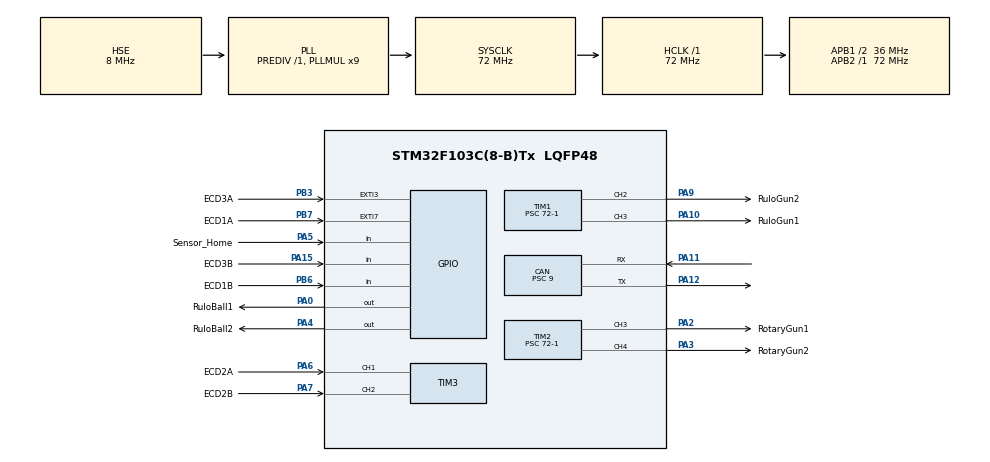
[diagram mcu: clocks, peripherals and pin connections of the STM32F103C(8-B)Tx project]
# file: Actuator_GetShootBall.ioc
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CAN.BS2=CAN_BS2_2TQ
CAN.CalculateBaudRate=1000000
CAN.CalculateTimeBit=1000
CAN.CalculateTimeQuantum=250.0
CAN.Prescaler=9
FREERTOS.Tasks01=ShootTask,0,128,StartShootTask,Default,NULL,Dynamic,NULL,NULL;CANTask,1,128,StartCANTask,Default,NULL,Dynamic,NULL,NULL
FREERTOS.configTIMER_TASK_PRIORITY=6
FREERTOS.configUSE_TIMERS=1
Mcu.Family=STM32F1
Mcu.Name=STM32F103C(8-B)Tx
Mcu.Package=LQFP48
NVIC.CAN1_RX1_IRQn=true\:5\:0\:false\:false\:true\:true\:true\:true\:true
NVIC.EXTI3_IRQn=true\:5\:0\:false\:false\:true\:true\:true\:true\:true
NVIC.EXTI9_5_IRQn=true\:5\:0\:false\:false\:true\:true\:true\:true\:true
NVIC.PriorityGroup=NVIC_PRIORITYGROUP_4
NVIC.TIM3_IRQn=true\:5\:0\:false\:false\:true\:true\:true\:true\:true
NVIC.TIM4_IRQn=true\:15\:0\:false\:false\:true\:false\:false\:true\:true
NVIC.TimeBase=TIM4_IRQn
NVIC.TimeBaseIP=TIM4
NVIC.USB_HP_CAN1_TX_IRQn=true\:5\:0\:false\:false\:true\:true\:true\:true\:true
NVIC.USB_LP_CAN1_RX0_IRQn=true\:5\:0\:false\:false\:true\:true\:true\:true\:true
PA0-WKUP.GPIO_Label=RuloBall1
PA0-WKUP.GPIO_PuPd=GPIO_NOPULL
PA0-WKUP.Signal=GPIO_Output
PA10.GPIO_Label=RuloGun1
PA10.Signal=S_TIM1_CH3
PA11.Mode=CAN_Activate
PA11.Signal=CAN_RX
PA12.Mode=CAN_Activate
PA12.Signal=CAN_TX
PA13.Mode=Serial_Wire
PA13.Signal=SYS_JTMS-SWDIO
PA14.Mode=Serial_Wire
PA14.Signal=SYS_JTCK-SWCLK
PA15.GPIO_Label=ECD3B
PA15.GPIO_PuPd=GPIO_PULLUP
PA15.Signal=GPIO_Input
PA2.GPIO_Label=RotaryGun1
PA2.Signal=S_TIM2_CH3
PA3.GPIO_Label=RotaryGun2
PA3.Signal=S_TIM2_CH4
PA4.GPIO_Label=RuloBall2
PA4.Signal=GPIO_Output
PA5.GPIO_Label=Sensor_Home
PA5.Signal=GPIO_Input
PA6.GPIO_Label=ECD2A
PA6.GPIO_PuPd=GPIO_PULLUP
PA6.Signal=S_TIM3_CH1
PA7.GPIO_Label=ECD2B
PA7.GPIO_PuPd=GPIO_PULLUP
PA7.Signal=S_TIM3_CH2
PA9.GPIO_Label=RuloGun2
PA9.Signal=S_TIM1_CH2
PB3.GPIO_Label=ECD3A
PB3.GPIO_PuPd=GPIO_PULLUP
PB3.Signal=GPXTI3
PB6.GPIO_Label=ECD1B
PB6.GPIO_PuPd=GPIO_PULLUP
PB6.Signal=GPIO_Input
PB7.GPIO_Label=ECD1A
PB7.GPIO_PuPd=GPIO_PULLUP
PB7.Signal=GPXTI7
PD0-OSC_IN.Mode=HSE-External-Oscillator
PD0-OSC_IN.Signal=RCC_OSC_IN
PD1-OSC_OUT.Mode=HSE-External-Oscillator
PD1-OSC_OUT.Signal=RCC_OSC_OUT
ProjectManager.HeapSize=0x200
ProjectManager.StackSize=0x400
ProjectManager.TargetToolchain=STM32CubeIDE
RCC.AHBFreq_Value=72000000
RCC.APB1CLKDivider=RCC_HCLK_DIV2
RCC.APB1Freq_Value=36000000
RCC.APB1TimFreq_Value=72000000
RCC.APB2Freq_Value=72000000
RCC.APB2TimFreq_Value=72000000
RCC.HCLKFreq_Value=72000000
RCC.PLLMUL=RCC_PLL_MUL9
RCC.PLLSourceVirtual=RCC_PLLSOURCE_HSE
RCC.SYSCLKFreq_VALUE=72000000
RCC.SYSCLKSource=RCC_SYSCLKSOURCE_PLLCLK
RCC.USBFreq_Value=72000000
SH.S_TIM1_CH2.0=TIM1_CH2,PWM Generation2 CH2
SH.S_TIM1_CH3.0=TIM1_CH3,PWM Generation3 CH3
SH.S_TIM2_CH3.0=TIM2_CH3,PWM Generation3 CH3
SH.S_TIM2_CH4.0=TIM2_CH4,PWM Generation4 CH4
SH.S_TIM3_CH1.0=TIM3_CH1,Encoder_Interface
SH.S_TIM3_CH2.0=TIM3_CH2,Encoder_Interface
TIM1.Channel-PWM\ Generation2\ CH2=TIM_CHANNEL_2
TIM1.Channel-PWM\ Generation3\ CH3=TIM_CHANNEL_3
TIM1.Period=1000-1
TIM1.Prescaler=72-1
TIM2.Channel-PWM\ Generation3\ CH3=TIM_CHANNEL_3
TIM2.Channel-PWM\ Generation4\ CH4=TIM_CHANNEL_4
TIM2.Period=1000-1
TIM2.Prescaler=72-1
TIM3.EncoderMode=TIM_ENCODERMODE_TI12
TIM3.IC1Polarity=TIM_ICPOLARITY_RISING
TIM3.IC2Polarity=TIM_ICPOLARITY_RISING
VP_FREERTOS_VS_CMSIS_V1.Mode=CMSIS_V1
VP_SYS_VS_tim4.Mode=TIM4
VP_TIM1_VS_ClockSourceINT.Mode=Internal
VP_TIM2_VS_ClockSourceINT.Mode=Internal
board=custom

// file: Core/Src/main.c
/* USER CODE BEGIN Header */
/**
 ******************************************************************************
 * @file           : main.c
 * @brief          : Main program body
 ******************************************************************************
 * @attention
 *
 * Copyright (c) 2024 STMicroelectronics.
 * All rights reserved.
 *
 * This software is licensed under terms that can be found in the LICENSE file
 * in the root directory of this software component.
 * If no LICENSE file comes with this software, it is provided AS-IS.
 *
 ******************************************************************************
 */
/* USER CODE END Header */
#include "main.h"
#include "cmsis_os.h"

/* USER CODE BEGIN Includes */
#include "PID_GunModule.h"
#include "CAN_Control.h"
#include "CAN_FuncHandle.h"
/* USER CODE END Includes */

/* USER CODE BEGIN PD */
#define FLASH_ADDR_BASE 0x08000000
#define FLASH_ADDR_TARGET_PAGE 64
#define FLASH_ADDR_TARGET (FLASH_ADDR_BASE + 1024*FLASH_ADDR_TARGET_PAGE)
/* USER CODE END PD */

CAN_HandleTypeDef hcan;

TIM_HandleTypeDef htim1;
TIM_HandleTypeDef htim2;
TIM_HandleTypeDef htim3;

osThreadId ShootTaskHandle;
osThreadId CANTaskHandle;
/* USER CODE BEGIN PV */
extern BoardParameter_t brdParam;
QueueHandle_t qPID, qShoot;
/* USER CODE END PV */

void SystemClock_Config(void);
static void MX_GPIO_Init(void);
static void MX_TIM2_Init(void);
static void MX_TIM3_Init(void);
static void MX_CAN_Init(void);
static void MX_TIM1_Init(void);
void StartShootTask(void const * argument);
void StartCANTask(void const * argument);

/* USER CODE BEGIN PFP */
////////////////////////////////////////////////////////
//****************************************************//
//*                     _oo0oo_                      *//
//*                    o8888888o                     *//
//*                    88` . '88                     *//
//*                    (| -_- |)                     *//
//*                     0\ = /0                      *//
//*                  ___/`---'\___                   *//
//*                  .' \\| |// '.                   *//
//*                / \\||| : |||// \                 *//
//*              / _||||| -:- |||||_ \               *//
//*                | | \\\ - /// | |                 *//
//*             |  \_| ''\---/'' |_/ |               *//
//*               \ .-\__ '-' ___/-. /               *//
//*            ___'. .' /--.--\ `. .'___             *//
//*         ."" '< `.___\_<|>_/___.' >' "".          *//
//*        | | : `- \`.;`\ _ /`;.`/ - ` : | |        *//
//*          \ \ `_. \_ __\ /__ _/ .-` / /           *//
//*   =====`-.____`.___ \_____/___.-`___.-'=====     *//
//*                     `=---='                      *//
//****************************************************//
////////////////////////////////////////////////////////
//---------------------ANTI BUG-----------------------//
/* USER CODE END PFP */

/* USER CODE BEGIN 0 */
void HAL_CAN_RxFifo0MsgPendingCallback(CAN_HandleTypeDef *hcan) {
	HAL_CAN_DeactivateNotification(hcan, CAN_IT_RX_FIFO0_MSG_PENDING);
	BaseType_t HigherPriorityTaskWoken = pdFALSE;
	CAN_MODE_ID modeID = canctrl_Receive_2(hcan, CAN_RX_FIFO0);
	xTaskNotifyFromISR(CANTaskHandle, modeID, eSetValueWithOverwrite, &HigherPriorityTaskWoken);
	portYIELD_FROM_ISR(HigherPriorityTaskWoken);
}

void HAL_GPIO_EXTI_Callback(uint16_t GPIO_Pin){
	if(GPIO_Pin == ECD3A_Pin){
		if(HAL_GPIO_ReadPin(ECD3B_GPIO_Port, ECD3B_Pin)){
			brdParam.encGun1.count_X1++;
		}
		else
			brdParam.encGun1.count_X1--;
	}
	if(GPIO_Pin == ECD1A_Pin){
		if(HAL_GPIO_ReadPin(ECD1B_GPIO_Port, ECD1B_Pin)){
			brdParam.encGun2.count_X1++;
		}
		else
			brdParam.encGun2.count_X1--;
	}
	BaseType_t HigherPriorityTaskWoken = pdFALSE;
	portYIELD_FROM_ISR(HigherPriorityTaskWoken);
}

void CAN_Init() {
	HAL_CAN_Start(&hcan);

	uint16_t deviceID = CANCTRL_DEVICE_ACTUATOR_1 << CAN_DEVICE_POS;

	canctrl_Filter_List16(&hcan,
			deviceID | CANCTRL_MODE_START,
			deviceID | CANCTRL_MODE_SHOOT,
			deviceID | CANCTRL_MODE_TEST,
			deviceID | CANCTRL_MODE_END,
			0, CAN_RX_FIFO0);

	HAL_CAN_ActivateNotification(&hcan, CAN_IT_RX_FIFO0_MSG_PENDING
			| CAN_IT_RX_FIFO0_FULL);

}

uint8_t TestMode = 0;
void handleFunctionCAN(CAN_MODE_ID mode) {
	CAN_SpeedGun speed;
	switch (mode) {
		case CANCTRL_MODE_SHOOT:
			speed= canfunc_GunGetSpeed();
			brd_SetSpeedGun(speed.gun1Speed, MOTOR_GUN1);
			brd_SetSpeedGun(speed.gun2Speed, MOTOR_GUN2);
			bool shootValue = 1;
			xQueueSend(qShoot, (void*)&shootValue, 1/portTICK_PERIOD_MS);
			break;
		case CANCTRL_MODE_TEST:
			TestMode = canfunc_GetBoolValue();
			break;
		default:
		break;
	}
}

void HAL_CAN_ErrorCallback(CAN_HandleTypeDef *hcan) {
	while (1);
}

void HAL_CAN_RxFifo0FullCallback(CAN_HandleTypeDef *hcan) {
	__NOP();
//	HAL_CAN_DeactivateNotification(hcan, CAN_IT_RX_FIFO0_MSG_PENDING);
}

void Flash_Assign() {
	  HAL_FLASH_Unlock();
	  FLASH_EraseInitTypeDef er;
	  er.TypeErase = FLASH_TYPEERASE_PAGES;
	  er.PageAddress = FLASH_ADDR_TARGET;
	  er.NbPages = 1;
	  uint32_t pe = 0;
	  HAL_FLASHEx_Erase(&er, &pe);
	  HAL_FLASH_Program(FLASH_TYPEPROGRAM_WORD, FLASH_ADDR_TARGET, 0x06);
	  HAL_FLASH_Lock();
}
/* USER CODE END 0 */

int main(void)
{

  /* MCU Configuration--------------------------------------------------------*/

  /* Reset of all peripherals, Initializes the Flash interface and the Systick. */
  HAL_Init();

  /* Configure the system clock */
  SystemClock_Config();

  /* Initialize all configured peripherals */
  MX_GPIO_Init();
  MX_TIM2_Init();
  MX_TIM3_Init();
  MX_CAN_Init();
  MX_TIM1_Init();
  /* USER CODE BEGIN 2 */
  qShoot = xQueueCreate(1, sizeof(bool));
  qPID   = xQueueCreate(2, sizeof(float));
  brd_Init();
//  Flash_Assign();
//  uint32_t testf = *(__IO uint32_t*) FLASH_ADDR_TARGET;
  /* USER CODE END 2 */

  /* Create the thread(s) */
  /* definition and creation of ShootTask */
  osThreadDef(ShootTask, StartShootTask, osPriorityNormal, 0, 128);
  ShootTaskHandle = osThreadCreate(osThread(ShootTask), NULL);

  /* definition and creation of CANTask */
  osThreadDef(CANTask, StartCANTask, osPriorityAboveNormal, 0, 128);
  CANTaskHandle = osThreadCreate(osThread(CANTask), NULL);

  /* Start scheduler */
  osKernelStart();

  /* We should never get here as control is now taken by the scheduler */
  /* Infinite loop */
	while (1)
	{

	}
}

void SystemClock_Config(void)
{
  RCC_OscInitTypeDef RCC_OscInitStruct = {0};
  RCC_ClkInitTypeDef RCC_ClkInitStruct = {0};

  /** Initializes the RCC Oscillators according to the specified parameters
  * in the RCC_OscInitTypeDef structure.
  */
  RCC_OscInitStruct.OscillatorType = RCC_OSCILLATORTYPE_HSE;
  RCC_OscInitStruct.HSEState = RCC_HSE_ON;
  RCC_OscInitStruct.HSEPredivValue = RCC_HSE_PREDIV_DIV1;
  RCC_OscInitStruct.HSIState = RCC_HSI_ON;
  RCC_OscInitStruct.PLL.PLLState = RCC_PLL_ON;
  RCC_OscInitStruct.PLL.PLLSource = RCC_PLLSOURCE_HSE;
  RCC_OscInitStruct.PLL.PLLMUL = RCC_PLL_MUL9;
  if (HAL_RCC_OscConfig(&RCC_OscInitStruct) != HAL_OK)
  {
    Error_Handler();
  }

  /** Initializes the CPU, AHB and APB buses clocks
  */
  RCC_ClkInitStruct.ClockType = RCC_CLOCKTYPE_HCLK|RCC_CLOCKTYPE_SYSCLK
                              |RCC_CLOCKTYPE_PCLK1|RCC_CLOCKTYPE_PCLK2;
  RCC_ClkInitStruct.SYSCLKSource = RCC_SYSCLKSOURCE_PLLCLK;
  RCC_ClkInitStruct.AHBCLKDivider = RCC_SYSCLK_DIV1;
  RCC_ClkInitStruct.APB1CLKDivider = RCC_HCLK_DIV2;
  RCC_ClkInitStruct.APB2CLKDivider = RCC_HCLK_DIV1;

  if (HAL_RCC_ClockConfig(&RCC_ClkInitStruct, FLASH_LATENCY_2) != HAL_OK)
  {
    Error_Handler();
  }
}

static void MX_CAN_Init(void)
{

  hcan.Instance = CAN1;
  hcan.Init.Prescaler = 9;
  hcan.Init.Mode = CAN_MODE_NORMAL;
  hcan.Init.SyncJumpWidth = CAN_SJW_1TQ;
  hcan.Init.TimeSeg1 = CAN_BS1_1TQ;
  hcan.Init.TimeSeg2 = CAN_BS2_2TQ;
  hcan.Init.TimeTriggeredMode = DISABLE;
  hcan.Init.AutoBusOff = DISABLE;
  hcan.Init.AutoWakeUp = DISABLE;
  hcan.Init.AutoRetransmission = DISABLE;
  hcan.Init.ReceiveFifoLocked = DISABLE;
  hcan.Init.TransmitFifoPriority = DISABLE;
  if (HAL_CAN_Init(&hcan) != HAL_OK)
  {
    Error_Handler();
  }

}

static void MX_TIM1_Init(void)
{

  TIM_ClockConfigTypeDef sClockSourceConfig = {0};
  TIM_MasterConfigTypeDef sMasterConfig = {0};
  TIM_OC_InitTypeDef sConfigOC = {0};
  TIM_BreakDeadTimeConfigTypeDef sBreakDeadTimeConfig = {0};

  htim1.Instance = TIM1;
  htim1.Init.Prescaler = 72-1;
  htim1.Init.CounterMode = TIM_COUNTERMODE_UP;
  htim1.Init.Period = 1000-1;
  htim1.Init.ClockDivision = TIM_CLOCKDIVISION_DIV1;
  htim1.Init.RepetitionCounter = 0;
  htim1.Init.AutoReloadPreload = TIM_AUTORELOAD_PRELOAD_DISABLE;
  if (HAL_TIM_Base_Init(&htim1) != HAL_OK)
  {
    Error_Handler();
  }
  sClockSourceConfig.ClockSource = TIM_CLOCKSOURCE_INTERNAL;
  if (HAL_TIM_ConfigClockSource(&htim1, &sClockSourceConfig) != HAL_OK)
  {
    Error_Handler();
  }
  if (HAL_TIM_PWM_Init(&htim1) != HAL_OK)
  {
    Error_Handler();
  }
  sMasterConfig.MasterOutputTrigger = TIM_TRGO_RESET;
  sMasterConfig.MasterSlaveMode = TIM_MASTERSLAVEMODE_DISABLE;
  if (HAL_TIMEx_MasterConfigSynchronization(&htim1, &sMasterConfig) != HAL_OK)
  {
    Error_Handler();
  }
  sConfigOC.OCMode = TIM_OCMODE_PWM1;
  sConfigOC.Pulse = 0;
  sConfigOC.OCPolarity = TIM_OCPOLARITY_HIGH;
  sConfigOC.OCNPolarity = TIM_OCNPOLARITY_HIGH;
  sConfigOC.OCFastMode = TIM_OCFAST_DISABLE;
  sConfigOC.OCIdleState = TIM_OCIDLESTATE_RESET;
  sConfigOC.OCNIdleState = TIM_OCNIDLESTATE_RESET;
  if (HAL_TIM_PWM_ConfigChannel(&htim1, &sConfigOC, TIM_CHANNEL_2) != HAL_OK)
  {
    Error_Handler();
  }
  if (HAL_TIM_PWM_ConfigChannel(&htim1, &sConfigOC, TIM_CHANNEL_3) != HAL_OK)
  {
    Error_Handler();
  }
  sBreakDeadTimeConfig.OffStateRunMode = TIM_OSSR_DISABLE;
  sBreakDeadTimeConfig.OffStateIDLEMode = TIM_OSSI_DISABLE;
  sBreakDeadTimeConfig.LockLevel = TIM_LOCKLEVEL_OFF;
  sBreakDeadTimeConfig.DeadTime = 0;
  sBreakDeadTimeConfig.BreakState = TIM_BREAK_DISABLE;
  sBreakDeadTimeConfig.BreakPolarity = TIM_BREAKPOLARITY_HIGH;
  sBreakDeadTimeConfig.AutomaticOutput = TIM_AUTOMATICOUTPUT_DISABLE;
  if (HAL_TIMEx_ConfigBreakDeadTime(&htim1, &sBreakDeadTimeConfig) != HAL_OK)
  {
    Error_Handler();
  }
  HAL_TIM_MspPostInit(&htim1);

}

static void MX_TIM2_Init(void)
{

  TIM_ClockConfigTypeDef sClockSourceConfig = {0};
  TIM_MasterConfigTypeDef sMasterConfig = {0};
  TIM_OC_InitTypeDef sConfigOC = {0};

  htim2.Instance = TIM2;
  htim2.Init.Prescaler = 72-1;
  htim2.Init.CounterMode = TIM_COUNTERMODE_UP;
  htim2.Init.Period = 1000-1;
  htim2.Init.ClockDivision = TIM_CLOCKDIVISION_DIV1;
  htim2.Init.AutoReloadPreload = TIM_AUTORELOAD_PRELOAD_DISABLE;
  if (HAL_TIM_Base_Init(&htim2) != HAL_OK)
  {
    Error_Handler();
  }
  sClockSourceConfig.ClockSource = TIM_CLOCKSOURCE_INTERNAL;
  if (HAL_TIM_ConfigClockSource(&htim2, &sClockSourceConfig) != HAL_OK)
  {
    Error_Handler();
  }
  if (HAL_TIM_PWM_Init(&htim2) != HAL_OK)
  {
    Error_Handler();
  }
  sMasterConfig.MasterOutputTrigger = TIM_TRGO_RESET;
  sMasterConfig.MasterSlaveMode = TIM_MASTERSLAVEMODE_DISABLE;
  if (HAL_TIMEx_MasterConfigSynchronization(&htim2, &sMasterConfig) != HAL_OK)
  {
    Error_Handler();
  }
  sConfigOC.OCMode = TIM_OCMODE_PWM1;
  sConfigOC.Pulse = 0;
  sConfigOC.OCPolarity = TIM_OCPOLARITY_HIGH;
  sConfigOC.OCFastMode = TIM_OCFAST_DISABLE;
  if (HAL_TIM_PWM_ConfigChannel(&htim2, &sConfigOC, TIM_CHANNEL_3) != HAL_OK)
  {
    Error_Handler();
  }
  if (HAL_TIM_PWM_ConfigChannel(&htim2, &sConfigOC, TIM_CHANNEL_4) != HAL_OK)
  {
    Error_Handler();
  }
  HAL_TIM_MspPostInit(&htim2);

}

static void MX_TIM3_Init(void)
{

  TIM_Encoder_InitTypeDef sConfig = {0};
  TIM_MasterConfigTypeDef sMasterConfig = {0};

  htim3.Instance = TIM3;
  htim3.Init.Prescaler = 0;
  htim3.Init.CounterMode = TIM_COUNTERMODE_UP;
  htim3.Init.Period = 65535;
  htim3.Init.ClockDivision = TIM_CLOCKDIVISION_DIV1;
  htim3.Init.AutoReloadPreload = TIM_AUTORELOAD_PRELOAD_DISABLE;
  sConfig.EncoderMode = TIM_ENCODERMODE_TI12;
  sConfig.IC1Polarity = TIM_ICPOLARITY_RISING;
  sConfig.IC1Selection = TIM_ICSELECTION_DIRECTTI;
  sConfig.IC1Prescaler = TIM_ICPSC_DIV1;
  sConfig.IC1Filter = 0;
  sConfig.IC2Polarity = TIM_ICPOLARITY_RISING;
  sConfig.IC2Selection = TIM_ICSELECTION_DIRECTTI;
  sConfig.IC2Prescaler = TIM_ICPSC_DIV1;
  sConfig.IC2Filter = 0;
  if (HAL_TIM_Encoder_Init(&htim3, &sConfig) != HAL_OK)
  {
    Error_Handler();
  }
  sMasterConfig.MasterOutputTrigger = TIM_TRGO_RESET;
  sMasterConfig.MasterSlaveMode = TIM_MASTERSLAVEMODE_DISABLE;
  if (HAL_TIMEx_MasterConfigSynchronization(&htim3, &sMasterConfig) != HAL_OK)
  {
    Error_Handler();
  }

}

static void MX_GPIO_Init(void)
{
  GPIO_InitTypeDef GPIO_InitStruct = {0};

  /* GPIO Ports Clock Enable */
  __HAL_RCC_GPIOD_CLK_ENABLE();
  __HAL_RCC_GPIOA_CLK_ENABLE();
  __HAL_RCC_GPIOB_CLK_ENABLE();

  /*Configure GPIO pin Output Level */
  HAL_GPIO_WritePin(GPIOA, RuloBall1_Pin|RuloBall2_Pin, GPIO_PIN_RESET);

  /*Configure GPIO pins : RuloBall1_Pin RuloBall2_Pin */
  GPIO_InitStruct.Pin = RuloBall1_Pin|RuloBall2_Pin;
  GPIO_InitStruct.Mode = GPIO_MODE_OUTPUT_PP;
  GPIO_InitStruct.Pull = GPIO_NOPULL;
  GPIO_InitStruct.Speed = GPIO_SPEED_FREQ_LOW;
  HAL_GPIO_Init(GPIOA, &GPIO_InitStruct);

  /*Configure GPIO pin : Sensor_Home_Pin */
  GPIO_InitStruct.Pin = Sensor_Home_Pin;
  GPIO_InitStruct.Mode = GPIO_MODE_INPUT;
  GPIO_InitStruct.Pull = GPIO_NOPULL;
  HAL_GPIO_Init(Sensor_Home_GPIO_Port, &GPIO_InitStruct);

  /*Configure GPIO pin : ECD3B_Pin */
  GPIO_InitStruct.Pin = ECD3B_Pin;
  GPIO_InitStruct.Mode = GPIO_MODE_INPUT;
  GPIO_InitStruct.Pull = GPIO_PULLUP;
  HAL_GPIO_Init(ECD3B_GPIO_Port, &GPIO_InitStruct);

  /*Configure GPIO pins : ECD3A_Pin ECD1A_Pin */
  GPIO_InitStruct.Pin = ECD3A_Pin|ECD1A_Pin;
  GPIO_InitStruct.Mode = GPIO_MODE_IT_RISING;
  GPIO_InitStruct.Pull = GPIO_PULLUP;
  HAL_GPIO_Init(GPIOB, &GPIO_InitStruct);

  /*Configure GPIO pin : ECD1B_Pin */
  GPIO_InitStruct.Pin = ECD1B_Pin;
  GPIO_InitStruct.Mode = GPIO_MODE_INPUT;
  GPIO_InitStruct.Pull = GPIO_PULLUP;
  HAL_GPIO_Init(ECD1B_GPIO_Port, &GPIO_InitStruct);

  /* EXTI interrupt init*/
  HAL_NVIC_SetPriority(EXTI3_IRQn, 5, 0);
  HAL_NVIC_EnableIRQ(EXTI3_IRQn);

  HAL_NVIC_SetPriority(EXTI9_5_IRQn, 5, 0);
  HAL_NVIC_EnableIRQ(EXTI9_5_IRQn);

}

/* USER CODE BEGIN 4 */
bool TestTick = false;

//void canShoot(float speedgun1, float speedgun2){
//	canfunc_GunPutSpeed(speedgun1, speedgun2);
//	canctrl_SetID(CANCTRL_MODE_SHOOT);
//	canctrl_Send(&hcan1, CANCTRL_DEVICE_ACTUATOR_1);
//	while (canctrl_Send(&hcan1, CANCTRL_DEVICE_ACTUATOR_1) != HAL_OK);
//}

/* USER CODE END 4 */

void StartShootTask(void const * argument)
{
  /* USER CODE BEGIN 5 */
	bool IsFirePhoenix = false;
	TickType_t xStartTime = 0, xOccurredTime = 0;
  /* Infinite loop */
  for(;;)
  {
	  if (xQueueReceive(qShoot, (void*) &IsFirePhoenix, 1 / portTICK_PERIOD_MS) == pdTRUE){
		  xStartTime = xTaskGetTickCount();
	  }
//	  if(TestTick){
//		  IsFirePhoenix = 1;
//		  TestTick = 0;
//		  xStartTime = xTaskGetTickCount();
//	  }
	  if(IsFirePhoenix){
		  xOccurredTime = xTaskGetTickCount() - xStartTime;
		  if(xOccurredTime > 3000/portTICK_PERIOD_MS){
			  PID_Motor_Stop_All();
			  IsFirePhoenix = 0;
			  xOccurredTime = 0;
		  }else{
			  PID_RuloBall_CalSpeed(1000, MOTOR_BALL1);
			  PID_RuloBall_CalSpeed(1000, MOTOR_BALL2);
			  PID_Gun_CalSpeed(brd_GetSpeedGun(MOTOR_GUN1), MOTOR_GUN1);
			  PID_Gun_CalSpeed(brd_GetSpeedGun(MOTOR_GUN2), MOTOR_GUN2);
		  }
	  }
	  osDelay(1);
  }
  /* USER CODE END 5 */
}

void StartCANTask(void const * argument)
{
  /* USER CODE BEGIN StartCANTask */
  CAN_Init();
  uint32_t modeID;
  /* Infinite loop */
  for(;;)
  {
	  if (xTaskNotifyWait(pdFALSE, pdFALSE, &modeID, portMAX_DELAY)) {
		CAN_RxHeaderTypeDef rxHeader = canctrl_GetRxHeader();
		if (((rxHeader.StdId >> CAN_DEVICE_POS) == *(__IO uint32_t*) FLASH_ADDR_TARGET)) {
			if (rxHeader.RTR == CAN_RTR_DATA)
				handleFunctionCAN((CAN_MODE_ID) modeID);
		}
		HAL_CAN_ActivateNotification(&hcan, CAN_IT_RX_FIFO0_MSG_PENDING | CAN_IT_RX_FIFO1_MSG_PENDING);
	  }
//	  osDelay(1);
  }
  /* USER CODE END StartCANTask */
}

void HAL_TIM_PeriodElapsedCallback(TIM_HandleTypeDef *htim)
{
  if (htim->Instance == TIM4) {
    HAL_IncTick();
  }
}

void Error_Handler(void)
{
	__disable_irq();
	while (1)
	{
	}
}

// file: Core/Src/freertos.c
/* USER CODE BEGIN Header */
/**
  ******************************************************************************
  * File Name          : freertos.c
  * Description        : Code for freertos applications
  ******************************************************************************
  * @attention
  *
  * Copyright (c) 2024 STMicroelectronics.
  * All rights reserved.
  *
  * This software is licensed under terms that can be found in the LICENSE file
  * in the root directory of this software component.
  * If no LICENSE file comes with this software, it is provided AS-IS.
  *
  ******************************************************************************
  */
/* USER CODE END Header */

#include "FreeRTOS.h"
#include "task.h"
#include "main.h"

/* GetIdleTaskMemory prototype (linked to static allocation support) */
void vApplicationGetIdleTaskMemory( StaticTask_t **ppxIdleTaskTCBBuffer, StackType_t **ppxIdleTaskStackBuffer, uint32_t *pulIdleTaskStackSize );

/* GetTimerTaskMemory prototype (linked to static allocation support) */
void vApplicationGetTimerTaskMemory( StaticTask_t **ppxTimerTaskTCBBuffer, StackType_t **ppxTimerTaskStackBuffer, uint32_t *pulTimerTaskStackSize );

/* USER CODE BEGIN GET_IDLE_TASK_MEMORY */
static StaticTask_t xIdleTaskTCBBuffer;
static StackType_t xIdleStack[configMINIMAL_STACK_SIZE];

void vApplicationGetIdleTaskMemory( StaticTask_t **ppxIdleTaskTCBBuffer, StackType_t **ppxIdleTaskStackBuffer, uint32_t *pulIdleTaskStackSize )
{
  *ppxIdleTaskTCBBuffer = &xIdleTaskTCBBuffer;
  *ppxIdleTaskStackBuffer = &xIdleStack[0];
  *pulIdleTaskStackSize = configMINIMAL_STACK_SIZE;
  /* place for user code */
}
/* USER CODE END GET_IDLE_TASK_MEMORY */

/* USER CODE BEGIN GET_TIMER_TASK_MEMORY */
static StaticTask_t xTimerTaskTCBBuffer;
static StackType_t xTimerStack[configTIMER_TASK_STACK_DEPTH];

void vApplicationGetTimerTaskMemory( StaticTask_t **ppxTimerTaskTCBBuffer, StackType_t **ppxTimerTaskStackBuffer, uint32_t *pulTimerTaskStackSize )
{
  *ppxTimerTaskTCBBuffer = &xTimerTaskTCBBuffer;
  *ppxTimerTaskStackBuffer = &xTimerStack[0];
  *pulTimerTaskStackSize = configTIMER_TASK_STACK_DEPTH;
  /* place for user code */
}
/* USER CODE END GET_TIMER_TASK_MEMORY */
